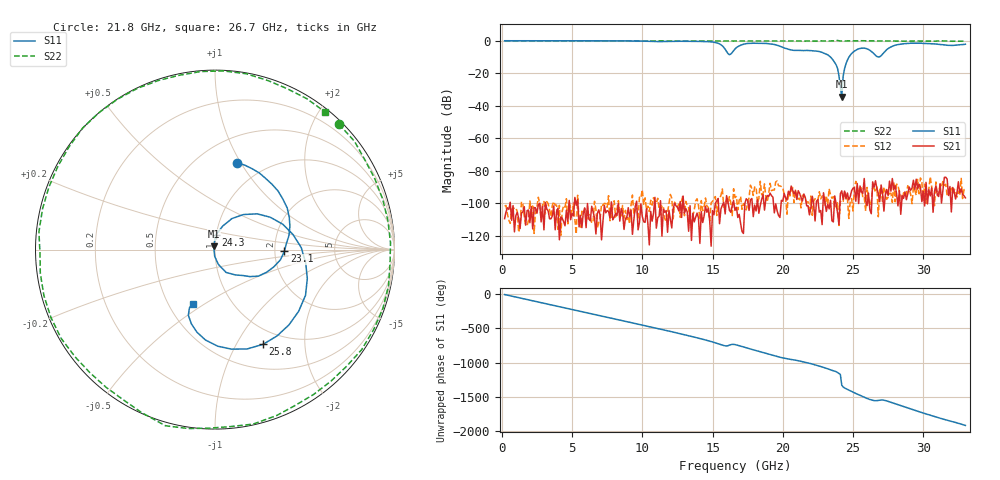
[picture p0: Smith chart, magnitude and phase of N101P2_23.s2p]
# GHZ S RI R 50
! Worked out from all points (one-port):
!   329 points, 200 MHz to 33 GHz, reference 50 ohm
!   lowest |S11| = -34.4 dB at 24.2 GHz (marker M1), VSWR 1.04, Z = 49.2 + j1.74 ohm
!   |S11| at or under -10 dB: 23.39 GHz to 24.72 GHz (1.326 GHz wide, 5.51 % of centre)
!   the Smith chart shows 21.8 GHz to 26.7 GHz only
!   S11 on the Smith chart (normalised r, x): 21.8 GHz: 0.75, +0.96; 23.1 GHz: 2.26, -0.05; 24.3 GHz: 0.99, +0.16; 25.8 GHz: 0.80, -1.30; 26.7 GHz: 0.66, -0.45
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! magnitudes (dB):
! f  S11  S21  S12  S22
! 200 MHz  0.0  -109.3  -101.7  0.0
! 5.7 GHz  0.0  -114.9  -104.8  -0.1
! 11.2 GHz  -0.5  -107.9  -103.5  -0.1
! 15.1 GHz  -0.9  -107.0  -97.5  -0.1
! 15.7 GHz  -3.2  -101.1  -91.1  -0.1
! 16.2 GHz  -8.6  -104.2  -95.8  -0.1
! 16.6 GHz  -5.0  -104.3  -96.4  -0.2
! 17.2 GHz  -2.2  -118.5  -100.1  -0.2
! 18.4 GHz  -1.5  -101.2  -86.4  -0.2
! 21.8 GHz  -6.0  -101.5  -99.0  -0.2
! 22.1 GHz  -6.1  -95.6  -107.3  -0.2
! 23.1 GHz  -8.3  -104.9  -95.2  -0.2
! 23.9 GHz  -17.0  -105.8  -99.2  0.2
! 24.2 GHz  -34.4  -92.3  -98.0  -0.2
! 24.3 GHz  -21.8  -97.5  -98.8  -0.2
! 24.5 GHz  -14.1  -97.2  -95.0  -0.1
! 24.8 GHz  -9.0  -95.9  -98.8  -0.2
! 25.8 GHz  -4.6  -84.7  -96.0  0.0
! 26.7 GHz  -9.7  -90.9  -89.8  -0.2
! 27.6 GHz  -4.3  -86.3  -93.8  -0.2
! 29 GHz  -1.5  -89.9  -91.6  -0.2
! 33 GHz  -2.2  -96.6  -91.5  -0.2
